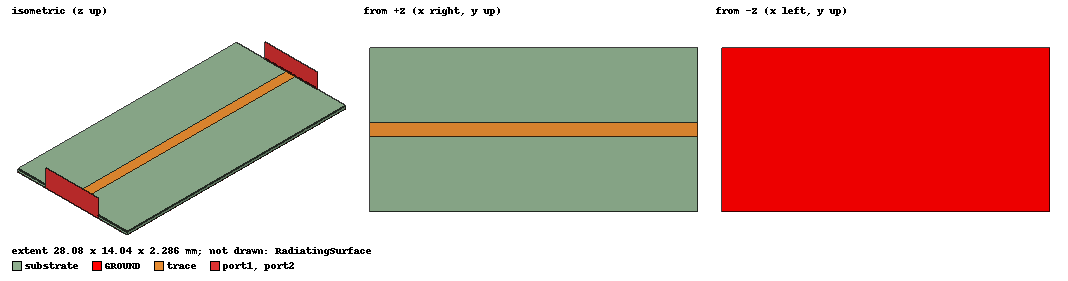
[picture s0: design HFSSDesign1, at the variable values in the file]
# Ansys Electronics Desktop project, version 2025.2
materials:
  vacuum: permittivity=1
  copper: permeability=0.999991 conductivity=58000000
  Rogers RT/duroid 5870 (tm): permittivity=2.33 dielectric_loss_tangent=0.0012

design HFSSDesign1 (HFSS, HFSS Modal Network, model units mm)
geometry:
  substrate [Rogers RT/duroid 5870 (tm)] = box(corner=(-14.0383mm, -7.01915mm, 0mm), size=(28.0766mm, 14.0383mm, 0.381mm))
  GROUND [copper, solve inside] = rectangle(corner=(-14.0383mm, -7.01915mm, 0mm), x_size=28.0766mm, y_size=14.0383mm)
  GROUND.thicken(0.017mm)
  trace [copper] = rectangle(corner=(-14.0383mm, -0.56584mm, 0.381mm), x_size=28.0766mm, y_size=1.13168mm)
  trace.thicken(0.017mm)
  port1 = rectangle(corner=(-14.0383mm, -3.39504mm, 0mm), y_size=6.79008mm, z_size=2.286mm)
  port2 = rectangle(corner=(14.0383mm, -3.39504mm, 0mm), y_size=6.79008mm, z_size=2.286mm)
  RadiatingSurface [vacuum] = region(absolute_offset: +X=0mm, -X=0mm, +Y=0mm, -Y=0mm, +Z=8mm, -Z=2mm)
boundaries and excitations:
  AutoOpen1: Radiation Objects=RadiatingSurface
  PerfE1: Perfect E Objects=GROUND
  1: Wave Port Objects=port1 WavePortType=Modal NumModes=1 Modes{Mode1{IntLine{(-14.0383, 0, 0) -> (-14.0383, 0, 2.286)} CharImp=Zpi}}
  2: Wave Port Objects=port2 WavePortType=Modal NumModes=1 Modes{Mode1{IntLine{(14.0383, 0, 0) -> (14.0383, 0, 2.286)} CharImp=Zpi}}
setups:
  Setup1: HfssDriven Frequency=14GHz MaxDeltaS=0.02 MaximumPasses=15 MinimumPasses=1 MinimumConvergedPasses=1 PercentRefinement=30 BasisOrder=1 PortAccuracy=2 DrivenSolverType="Direct Solver"
    sweep Sweep: 7GHz to 21GHz, 401 points; Type=Interpolating InterpTolerance=0.5 InterpMaxSolns=250 InterpUsePortImped=false PassivityErrorTolerance=0.0001
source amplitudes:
  1:1: 1V 0deg
  2:1: 0V 0deg
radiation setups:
  3D: Infinite Sphere Theta=0deg..180deg step 2deg Phi=-180deg..180deg step 2deg
  Elevation: Infinite Sphere Theta=-180deg..180deg step 1deg Phi=0deg..90deg step 90deg
  Azimuth: Infinite Sphere Theta=90deg..90deg step 0deg Phi=-180deg..180deg step 1deg
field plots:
  ComplexMag_E1: E Field on Setup1 : LastAdaptive at Freq=14GHz Phase=0deg
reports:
  S Parameter Plot1: dB(S(1,1)), dB(S(2,1)) vs Freq on Setup1 : Sweep
